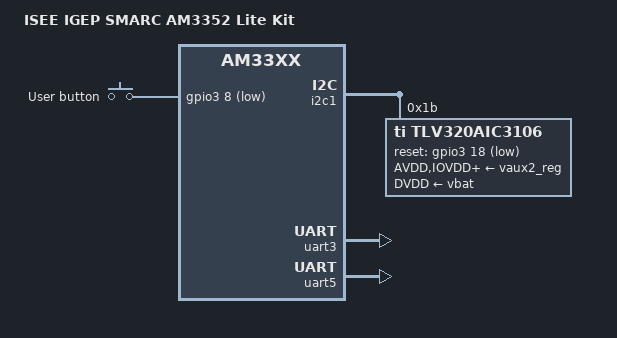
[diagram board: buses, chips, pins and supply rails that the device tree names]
/*
 * am335x-igep-base0040-lite.dts - Device Tree file for IGEP0034 Lite
 * MODULE based on AM3352 and BASE0040 RB IGEP SMARC EXPANSION
 *
 * Copyright (C) 2016 ISEE 2007 SL - http://www.isee.biz
 *
 * This program is free software; you can redistribute it and/or modify
 * it under the terms of the GNU General Public License version 2 as
 * published by the Free Software Foundation.
 */

/dts-v1/;

#include "am335x-igep-igep0034-lite.dtsi"

/ {
	model = "ISEE IGEP SMARC AM3352 Lite Kit";
	compatible = "isee,am335x-igep-base0040-lite", "isee,am335x-igep-igep0034-lite", "ti,am33xx";

	sound {
		compatible = "ti,da830-evm-audio";
		ti,model = "AM335x-BASE0040";
		ti,audio-codec = <&tlv320aic3106>;
		ti,mcasp-controller = <&mcasp0>;
		ti,codec-clock-rate = <12000000>;
		ti,audio-routing =
            "Headphone Jack",       "HPLOUT",
            "Headphone Jack",       "HPROUT",
            "Mic Jack",             "MIC3L",
            "Mic Jack",             "MIC3R",
            "Line In",              "LINE1L",
            "Line In",              "LINE1R";
	};

	gpio-keys {
		compatible = "gpio-keys";
		pinctrl-names = "default";
		pinctrl-0 = <&user_buttons_pins_default>;

		user {
			label = "User button";
			gpios = <&gpio3 8 GPIO_ACTIVE_LOW>;
			linux,code = <KEY_HOME>;
		};
	};
};

&am33xx_pinmux {
	pinctrl-names = "default";
	pinctrl-0 = <
		&hub_pins
	>;

	hub_pins: pinmux_hub_pins_default {
		pinctrl-single,pins = <
			AM33XX_IOPAD(0x824, PIN_OUTPUT_PULLDOWN | MUX_MODE7)	/* gpmc_ad9.gpio0[23] */
		>;
	};

	reset_tlv320_pins: pinmux_reset_tlv320_pins {
		pinctrl-single,pins = <
			AM33XX_IOPAD(0x9A0, PIN_OUTPUT_PULLUP | MUX_MODE7 ) /* mcasp0_aclkr.gpio3[18] */
		>;
	};

	user_buttons_pins_default: pinmux_user_buttons_pins_default {
		pinctrl-single,pins = <
			AM33XX_IOPAD(0x9E8, PIN_INPUT_PULLUP | MUX_MODE7)		/* EMU1.gpio3[8] */
		>;
	};

	uart3_pins_default: pinmux_uart3_pins_default {
		pinctrl-single,pins = <
			AM33XX_IOPAD(0x934, PIN_INPUT_PULLUP | MUX_MODE1)		/* gmii1_rxd3.uart3_rxd */
			AM33XX_IOPAD(0x938, PIN_OUTPUT | MUX_MODE1)				/* gmii1_rxclk.uart2_txd */
		>;
	};

	uart3_pins_sleep: pinmux_uart3_pins_sleep {
		pinctrl-single,pins = <
			AM33XX_IOPAD(0x934, PIN_INPUT_PULLDOWN | MUX_MODE7)
			AM33XX_IOPAD(0x938, PIN_INPUT_PULLDOWN | MUX_MODE7)
		>;
	};

	uart5_pins_default: pinmux_uart5_pins_default {
		pinctrl-single,pins = <
			AM33XX_IOPAD(0x908, PIN_INPUT_PULLUP | MUX_MODE3)		/* gmii1_col.uart5_rxd */
			AM33XX_IOPAD(0x918, PIN_OUTPUT | MUX_MODE3)				/* gmii1_rxdv.uart5_txd */
		>;
	};

	uart5_pins_sleep: pinmux_uart5_pins_sleep {
		pinctrl-single,pins = <
			AM33XX_IOPAD(0x908, PIN_INPUT_PULLDOWN | MUX_MODE7)
			AM33XX_IOPAD(0x918, PIN_INPUT_PULLDOWN | MUX_MODE7)
		>;
	};
};

&i2c1 {
	tlv320aic3106: tlv320aic3106@1b {
		compatible = "ti,tlv320aic3106";
		reg = <0x1b>;
		status = "okay";
		gpio-reset = <&gpio3 18 1>;
		ai3x-micbias-vg = <2>;

		/* Regulators */
		AVDD-supply = <&vaux2_reg>;
		IOVDD-supply = <&vaux2_reg>;
		DRVDD-supply = <&vaux2_reg>;
		DVDD-supply = <&vbat>;
	};
};

&mcasp0 {
	op-mode = <0>;		/* MCASP_IIS_MODE */
	tdm-slots = <2>;
	/* 16 serializer */
	serial-dir = < /* 0: INACTIVE, 1: TX, 2: RX */
		1 2 0 0
	>;
	tx-num-evt = <32>;
	rx-num-evt = <32>;
};

&uart3 {
	status = "okay";
	pinctrl-names = "default", "sleep";
	pinctrl-0 = <&uart3_pins_default>;
	pinctrl-1 = <&uart3_pins_sleep>;
};

&uart5 {
	status = "okay";
	pinctrl-names = "default", "sleep";
	pinctrl-0 = <&uart5_pins_default>;
	pinctrl-1 = <&uart5_pins_sleep>;
};

&tscadc {
	adc {
		ti,adc-channels = <0 1 2 3 4 5 6>;
	};
};
